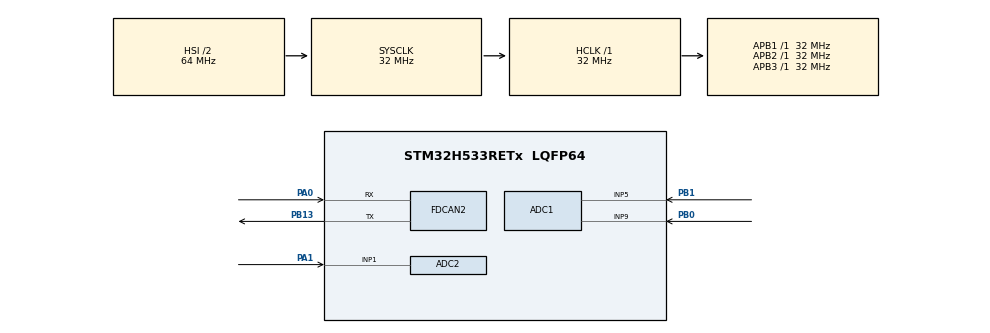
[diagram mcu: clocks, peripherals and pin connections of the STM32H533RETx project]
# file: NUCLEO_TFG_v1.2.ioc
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ADC1.Channel-1\#ChannelRegularConversion=ADC_CHANNEL_9
ADC1.MonitoredBy-1\#ChannelRegularConversion=__NULL
ADC1.NbrOfConversionFlag=1
ADC1.OffsetNumber-1\#ChannelRegularConversion=ADC_OFFSET_NONE
ADC1.Rank-1\#ChannelRegularConversion=1
ADC1.SamplingTime-1\#ChannelRegularConversion=ADC_SAMPLETIME_2CYCLES_5
ADC1.master=1
ADC2.Channel-1\#ChannelRegularConversion=ADC_CHANNEL_1
ADC2.MonitoredBy-1\#ChannelRegularConversion=__NULL
ADC2.NbrOfConversionFlag=1
ADC2.OffsetNumber-1\#ChannelRegularConversion=ADC_OFFSET_NONE
ADC2.Rank-1\#ChannelRegularConversion=1
ADC2.SamplingTime-1\#ChannelRegularConversion=ADC_SAMPLETIME_2CYCLES_5
BOOTPATH.BootPathName=LEGACY
BOOTPATH.UserSelectedBootPath=LEGACY
CORTEX_M33_NS.userName=CORTEX_M33
FDCAN2.CalculateBaudRateNominal=500000
FDCAN2.CalculateTimeBitNominal=2000
FDCAN2.CalculateTimeQuantumNominal=20.0
FDCAN2.DataPrescaler=2
FDCAN2.DataSyncJumpWidth=12
FDCAN2.DataTimeSeg1=12
FDCAN2.DataTimeSeg2=12
FDCAN2.FrameFormat=FDCAN_FRAME_FD_BRS
FDCAN2.Mode=FDCAN_MODE_EXTERNAL_LOOPBACK
FDCAN2.NominalPrescaler=1
FDCAN2.NominalSyncJumpWidth=13
FDCAN2.NominalTimeSeg1=86
FDCAN2.NominalTimeSeg2=13
FDCAN2.StdFiltersNbr=1
Mcu.Family=STM32H5
Mcu.Name=STM32H533RETx
Mcu.Package=LQFP64
NUCLEO-H533RE.BUTTON=1
NUCLEO-H533RE.LD4=true
NUCLEO-H533RE.VCP=true
NVIC.EXTI13_IRQn=true\:0\:0\:false\:false\:true\:false\:true\:true
NVIC.PriorityGroup=NVIC_PRIORITYGROUP_4
PA0.Mode=FDCAN_Activate
PA0.Signal=FDCAN2_RX
PA1.Signal=ADCx_INP1
PA13(JTMS/SWDIO).GPIO_Label=SWDIO
PA13(JTMS/SWDIO).Signal=DEBUG_JTMS-SWDIO
PA14(JTCK/SWCLK).GPIO_Label=SWCLK
PA14(JTCK/SWCLK).Signal=DEBUG_JTCK-SWCLK
PA15(JTDI).GPIO_Label=JTDI
PA15(JTDI).Signal=DEBUG_JTDI
PA2.Signal=USART2_TX
PA3.Signal=USART2_RX
PB0.Signal=ADCx_INP9
PB1.Signal=ADCx_INP5
PB13.Mode=FDCAN_Activate
PB13.Signal=FDCAN2_TX
PB3(JTDO/TRACESWO).GPIO_Label=SWO
PB3(JTDO/TRACESWO).Signal=DEBUG_JTDO-SWO
ProjectManager.HeapSize=0x200
ProjectManager.StackSize=0x400
ProjectManager.TargetToolchain=STM32CubeIDE
RCC.ADCFreq_Value=32000000
RCC.AHBFreq_Value=32000000
RCC.APB1Freq_Value=32000000
RCC.APB1TimFreq_Value=32000000
RCC.APB2Freq_Value=32000000
RCC.APB2TimFreq_Value=32000000
RCC.APB3Freq_Value=32000000
RCC.CSI_VALUE=4000000
RCC.CortexFreq_Value=32000000
RCC.EPOD_VALUE=4000000
RCC.FDCANClockSelection=RCC_FDCANCLKSOURCE_PLL1Q
RCC.HCLKFreq_Value=32000000
RCC.HSE_VALUE=25000000
RCC.HSI48_VALUE=48000000
RCC.HSI_VALUE=64000000
RCC.LSE_VALUE=32768
RCC.LSIRC_VALUE=32000
RCC.PLL1Q=4
RCC.PLLFRACN=0
RCC.PLLN=50
RCC.SYSCLKFreq_VALUE=32000000
RCC.USBFreq_Value=48000000
RCC.VCOOutputFreq_Value=200000000
SH.ADCx_INP1.0=ADC2_INP1,IN1-Single-Ended
SH.ADCx_INP5.0=ADC1_INP5,IN5-Single-Ended
SH.ADCx_INP9.0=ADC1_INP9,IN9-Single-Ended
VP_BOOTPATH_VS_BOOTPATH.Mode=BP_Activate
VP_CORTEX_M33_NS_VS_Hclk.Mode=Hclk_Mode
VP_MEMORYMAP_VS_MEMORYMAP.Mode=CurAppReg
VP_NUCLEO-H533RE_VS_BSP_COMMON.Mode=COMMON
VP_PWR_VS_LPOM.Mode=PowerOptimisation
VP_PWR_VS_SECSignals.Mode=Security/Privilege
board=NUCLEO-H533RE

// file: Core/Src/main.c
/* USER CODE BEGIN Header */
/**
  ******************************************************************************
  * @file           : main.c
  * @brief          : Main program body
  ******************************************************************************
  * @attention
  *
  * Copyright (c) 2026 STMicroelectronics.
  * All rights reserved.
  *
  * This software is licensed under terms that can be found in the LICENSE file
  * in the root directory of this software component.
  * If no LICENSE file comes with this software, it is provided AS-IS.
  *
  ******************************************************************************
  */
/* USER CODE END Header */
#include "main.h"
#include "adc.h"
#include "fdcan.h"
#include "gpio.h"

COM_InitTypeDef BspCOMInit;

void SystemClock_Config(void);

/* USER CODE BEGIN 0 */

uint16_t raw;
float volt;
uint16_t raw2;
float volt2;
uint16_t brake_sensor;

FDCAN_FilterTypeDef sFilterConfig;
FDCAN_TxHeaderTypeDef TxHeader; //CABECERA CAN
FDCAN_RxHeaderTypeDef RxHeader;

uint8_t TxData[12];
uint8_t RxData[12];

void ADC_Select_S1 ();
void ADC_Select_S2 ();

/* USER CODE END 0 */

int main(void)
{

  /* MCU Configuration--------------------------------------------------------*/

  /* Reset of all peripherals, Initializes the Flash interface and the Systick. */
  HAL_Init();

  /* Configure the system clock */
  SystemClock_Config();

  /* Initialize all configured peripherals */
  MX_GPIO_Init();
  MX_ADC1_Init();
  MX_ADC2_Init();
  MX_FDCAN2_Init();

  /* USER CODE BEGIN 2 */
  // Calibrate ADCs for better accuracy
  HAL_ADCEx_Calibration_Start(&hadc1, ADC_SINGLE_ENDED);
  HAL_ADCEx_Calibration_Start(&hadc2, ADC_SINGLE_ENDED);

  // Filtro: solo ID 0x111 a FIFO0
    sFilterConfig.IdType = FDCAN_STANDARD_ID;
    sFilterConfig.FilterIndex = 0;
    sFilterConfig.FilterType = FDCAN_FILTER_MASK;
    sFilterConfig.FilterConfig = FDCAN_FILTER_TO_RXFIFO0;
    sFilterConfig.FilterID1 = 0x111;
    sFilterConfig.FilterID2 = 0x7FF;

    if (HAL_FDCAN_ConfigFilter(&hfdcan2, &sFilterConfig) != HAL_OK) Error_Handler();

    // Header TX
    TxHeader.Identifier = 0x111;
    TxHeader.IdType = FDCAN_STANDARD_ID;
    TxHeader.TxFrameType = FDCAN_DATA_FRAME;
    TxHeader.DataLength = FDCAN_DLC_BYTES_12;
    TxHeader.ErrorStateIndicator = FDCAN_ESI_ACTIVE;
    TxHeader.BitRateSwitch = FDCAN_BRS_ON;
    TxHeader.FDFormat = FDCAN_FD_CAN;
    TxHeader.TxEventFifoControl = FDCAN_NO_TX_EVENTS;
    TxHeader.MessageMarker = 0;

    //Arrancar CAN
    if (HAL_FDCAN_Start(&hfdcan2) != HAL_OK) Error_Handler();

  /* USER CODE END 2 */

  /* Initialize COM1 port (115200, 8 bits (7-bit data + 1 stop bit), no parity */
  BspCOMInit.BaudRate   = 115200;
  BspCOMInit.WordLength = COM_WORDLENGTH_8B;
  BspCOMInit.StopBits   = COM_STOPBITS_1;
  BspCOMInit.Parity     = COM_PARITY_NONE;
  BspCOMInit.HwFlowCtl  = COM_HWCONTROL_NONE;
  if (BSP_COM_Init(COM1, &BspCOMInit) != BSP_ERROR_NONE)
  {
    Error_Handler();
  }

  /* Infinite loop */
  /* USER CODE BEGIN WHILE */
  while (1)
  {
	  static uint32_t slow_counter = 0;

	  //ACELERADOR
	  ADC_Select_S1();
	  HAL_ADC_Start(&hadc1);
	  HAL_ADC_PollForConversion(&hadc1, HAL_MAX_DELAY);
	  raw = HAL_ADC_GetValue(&hadc1);
	  HAL_ADC_Stop(&hadc1);

	  ADC_Select_S2();
	  HAL_ADC_Start(&hadc1);
	  HAL_ADC_PollForConversion(&hadc1, HAL_MAX_DELAY);
	  raw2 = HAL_ADC_GetValue(&hadc1);
	  HAL_ADC_Stop(&hadc1);

	  //FRENO
	  HAL_ADC_Start(&hadc2);
	  HAL_ADC_PollForConversion(&hadc2, HAL_MAX_DELAY);
	  brake_sensor = HAL_ADC_GetValue(&hadc2);
	  HAL_ADC_Stop(&hadc2);

	  //EMPAQUETAR CAN
	  TxData[0] = (raw >> 8) & 0xFF;
	  TxData[1] = raw & 0xFF;

	  TxData[2] = (raw2 >> 8) & 0xFF;
	  TxData[3] = raw2 & 0xFF;

	  TxData[4] = (brake_sensor >> 8) & 0xFF;
	  TxData[5] = brake_sensor & 0xFF;

	  //Envio
	  if (HAL_FDCAN_AddMessageToTxFifoQ(&hfdcan2, &TxHeader, TxData) != HAL_OK) Error_Handler();

	  // Esperar RX (loopback)
	  while (HAL_FDCAN_GetRxFifoFillLevel(&hfdcan2, FDCAN_RX_FIFO0) == 0) { }

	  //Leer RX
	  if (HAL_FDCAN_GetRxMessage(&hfdcan2, FDCAN_RX_FIFO0, &RxHeader, RxData) != HAL_OK) Error_Handler();

	  uint16_t received_raw;
	  uint16_t received_raw2;
	  uint16_t received_brake;

	  received_raw  = (RxData[0] << 8) | RxData[1];
	  received_raw2 = (RxData[2] << 8) | RxData[3];
	  received_brake = (RxData[4] << 8) | RxData[5];

	  //SENSORES SECUNDARIOS (cada 20 ciclos)
	  if (++slow_counter >= 20)
	  {
	      slow_counter = 0;

		  //Sensor susp fr
	  		/*
	  		HAL_ADC_Start(&hadc2);
	  		HAL_ADC_PollForConversion(&hadc2, HAL_MAX_DELAY);
	  		susp_sensor1 = HAL_ADC_GetValue(&hadc2);
	  		HAL_ADC_Stop(&hadc2);
	  		 */

	  	  //Sensor susp fl
	  		/*
	  		HAL_ADC_Start(&hadc2);
	  		HAL_ADC_PollForConversion(&hadc2, HAL_MAX_DELAY);
	  		susp_sensor2 = HAL_ADC_GetValue(&hadc2);
	  		HAL_ADC_Stop(&hadc2);
	  		*/

	  }

    /* USER CODE END WHILE */

  }
}

void SystemClock_Config(void)
{
  RCC_OscInitTypeDef RCC_OscInitStruct = {0};
  RCC_ClkInitTypeDef RCC_ClkInitStruct = {0};

  /** Configure the main internal regulator output voltage
  */
  __HAL_PWR_VOLTAGESCALING_CONFIG(PWR_REGULATOR_VOLTAGE_SCALE3);

  while(!__HAL_PWR_GET_FLAG(PWR_FLAG_VOSRDY)) {}

  /** Initializes the RCC Oscillators according to the specified parameters
  * in the RCC_OscInitTypeDef structure.
  */
  RCC_OscInitStruct.OscillatorType = RCC_OSCILLATORTYPE_HSI|RCC_OSCILLATORTYPE_CSI;
  RCC_OscInitStruct.HSIState = RCC_HSI_ON;
  RCC_OscInitStruct.HSIDiv = RCC_HSI_DIV2;
  RCC_OscInitStruct.HSICalibrationValue = RCC_HSICALIBRATION_DEFAULT;
  RCC_OscInitStruct.CSIState = RCC_CSI_ON;
  RCC_OscInitStruct.CSICalibrationValue = RCC_CSICALIBRATION_DEFAULT;
  RCC_OscInitStruct.PLL.PLLState = RCC_PLL_ON;
  RCC_OscInitStruct.PLL.PLLSource = RCC_PLL1_SOURCE_CSI;
  RCC_OscInitStruct.PLL.PLLM = 1;
  RCC_OscInitStruct.PLL.PLLN = 50;
  RCC_OscInitStruct.PLL.PLLP = 2;
  RCC_OscInitStruct.PLL.PLLQ = 4;
  RCC_OscInitStruct.PLL.PLLR = 2;
  RCC_OscInitStruct.PLL.PLLRGE = RCC_PLL1_VCIRANGE_2;
  RCC_OscInitStruct.PLL.PLLVCOSEL = RCC_PLL1_VCORANGE_WIDE;
  RCC_OscInitStruct.PLL.PLLFRACN = 0;
  if (HAL_RCC_OscConfig(&RCC_OscInitStruct) != HAL_OK)
  {
    Error_Handler();
  }

  /** Initializes the CPU, AHB and APB buses clocks
  */
  RCC_ClkInitStruct.ClockType = RCC_CLOCKTYPE_HCLK|RCC_CLOCKTYPE_SYSCLK
                              |RCC_CLOCKTYPE_PCLK1|RCC_CLOCKTYPE_PCLK2
                              |RCC_CLOCKTYPE_PCLK3;
  RCC_ClkInitStruct.SYSCLKSource = RCC_SYSCLKSOURCE_HSI;
  RCC_ClkInitStruct.AHBCLKDivider = RCC_SYSCLK_DIV1;
  RCC_ClkInitStruct.APB1CLKDivider = RCC_HCLK_DIV1;
  RCC_ClkInitStruct.APB2CLKDivider = RCC_HCLK_DIV1;
  RCC_ClkInitStruct.APB3CLKDivider = RCC_HCLK_DIV1;

  if (HAL_RCC_ClockConfig(&RCC_ClkInitStruct, FLASH_LATENCY_1) != HAL_OK)
  {
    Error_Handler();
  }

  /** Configure the programming delay
  */
  __HAL_FLASH_SET_PROGRAM_DELAY(FLASH_PROGRAMMING_DELAY_0);
}

/* USER CODE BEGIN 4 */
void ADC_Select_S1 (void)
{
	ADC_ChannelConfTypeDef sConfig = {0};
	  /** Configure for the selected ADC regular channel its corresponding rank in the sequencer and its sample time.
	  */
	  sConfig.Channel = ADC_CHANNEL_9;
	  sConfig.Rank = ADC_REGULAR_RANK_1;
	  sConfig.SamplingTime = ADC_SAMPLETIME_2CYCLES_5;
	  sConfig.SingleDiff = ADC_SINGLE_ENDED;
	  sConfig.OffsetNumber = ADC_OFFSET_NONE;
	  sConfig.Offset = 0;
	  if (HAL_ADC_ConfigChannel(&hadc1, &sConfig) != HAL_OK)
	  {
	    Error_Handler();
	  }
}

void ADC_Select_S2 (void)
{
	ADC_ChannelConfTypeDef sConfig = {0};
	  /** Configure for the selected ADC regular channel its corresponding rank in the sequencer and its sample time.
	  */
	  sConfig.Channel = ADC_CHANNEL_5;
	  sConfig.Rank = ADC_REGULAR_RANK_1;
	  sConfig.SamplingTime = ADC_SAMPLETIME_2CYCLES_5;
	  sConfig.SingleDiff = ADC_SINGLE_ENDED;
	  sConfig.OffsetNumber = ADC_OFFSET_NONE;
	  sConfig.Offset = 0;
	  if (HAL_ADC_ConfigChannel(&hadc1, &sConfig) != HAL_OK)
	  {
	    Error_Handler();
	  }
}

/* USER CODE END 4 */

void Error_Handler(void)
{
  __disable_irq();
  while (1)
  {
  }
}
